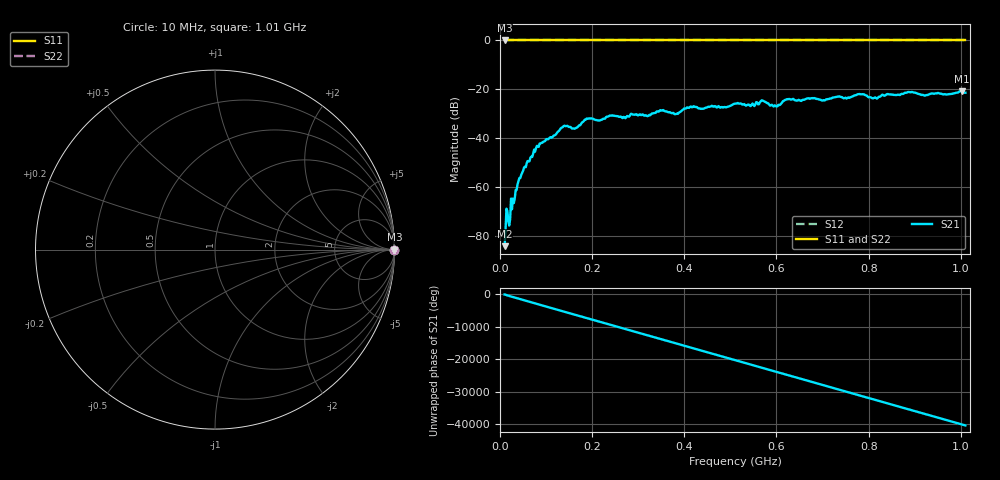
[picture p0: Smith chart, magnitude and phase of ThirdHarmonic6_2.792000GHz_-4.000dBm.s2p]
! 8/17/2025 7:13:22 AM
! C:\ANRITSUVNA\TEMP\TEMP.S2P
! CHANNEL.1
! TR.MEASUREMENT
! RAW.DATA
! RF.CORRECTION.OFF
! AVERAGING.OFF
! IF.BANDWIDTH: 5KHZ
! SWEEPTYPE:  FREQ.SWEEP(Linear)
! Reference Plane Port Info
! PORT:  PORT1  PORT2
! DISTANCE:  0  m  0  m
! TIME:  0  s  0  s
! PHASE.OFFSET:  0  deg.  0  deg.
! LOSS:  0  dB  0  dB
! REF.LOSS:  0  dB  0  dB
! REF.FREQ:  0  Hz  0  Hz
! Power Info
! POWER:  -20  dBm  -20  dBm
! EFF.POWER:  -20  dBm  -20  dBm
! SOURCE.ATTEN:  0  dB  0  dB
! TEST.ATTEN:  0  dB  0  dB
# GHZ S RI R 50.0
! FREQ.GHZ  S11RE  S11IM  S21RE  S21IM  S12RE  S12IM  S22RE  S22IM
!; PortSelection: Port_12
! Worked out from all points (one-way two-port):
!   501 points, 10 MHz to 1.01 GHz, reference 50 ohm
!   highest |S21| = -20.76 dB at 1.002 GHz (marker M1); lowest = -84.3 dB at 10 MHz (marker M2)
!   lowest |S11| = 0.0 dB at 10 MHz (marker M3)
!   |S11| at or under -10 dB: nowhere
!   |S22| runs from 0.0 to 0.0 dB; largest |S21 - S12| = 1.1
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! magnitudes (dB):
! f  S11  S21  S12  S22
! 10 MHz  0.0  -84.3  0.0  0.0
! 22 MHz  0.0  -73.3  0.0  0.0
! 42 MHz  0.0  -56.4  0.0  0.0
! 78 MHz  0.0  -44.2  0.0  0.0
! 136 MHz  0.0  -35.6  0.0  0.0
! 162 MHz  0.0  -36.2  0.0  0.0
! 178 MHz  0.0  -33.6  0.0  0.0
! 192 MHz  0.0  -32.0  0.0  0.0
! 322 MHz  0.0  -30.9  0.0  0.0
! 344 MHz  0.0  -29.2  0.0  0.0
! 382 MHz  0.0  -30.1  0.0  0.0
! 410 MHz  0.0  -27.6  0.0  0.0
! 510 MHz  0.0  -25.9  0.0  0.0
! 548 MHz  0.0  -25.8  0.0  0.0
! 570 MHz  0.0  -24.7  0.0  0.0
! 598 MHz  0.0  -26.8  0.0  0.0
! 624 MHz  0.0  -24.1  0.0  0.0
! 678 MHz  0.0  -23.6  0.0  0.0
! 814 MHz  0.0  -23.3  0.0  0.0
! 844 MHz  0.0  -22.1  0.0  0.0
! 1.002 GHz  0.0  -20.8  0.0  0.0
! 1.01 GHz  0.0  -21.4  0.0  0.0
